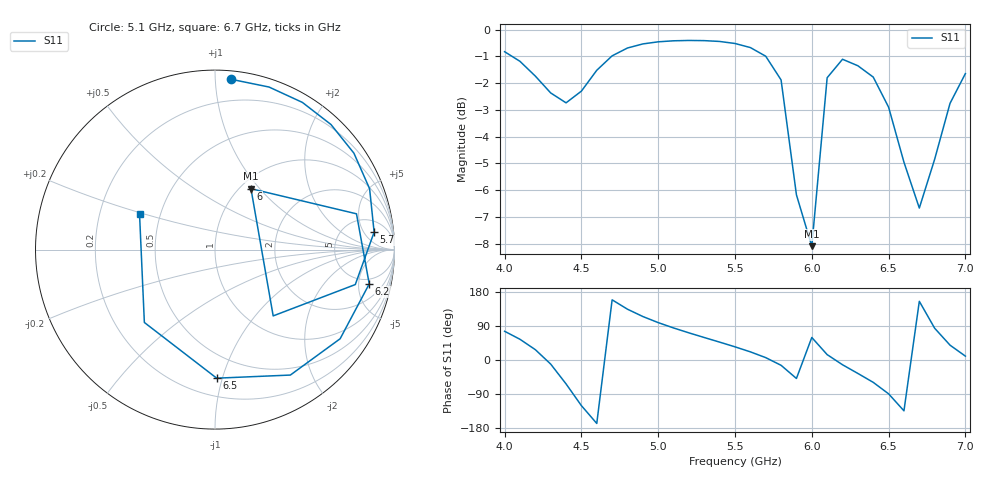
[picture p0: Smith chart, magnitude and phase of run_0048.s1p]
! Touchstone file exported from HFSS 2024.2.0
!  File:  C:/Users/wsak9/Desktop/Sim Fast/Widenad Patch/WP_AI_V1_sweep.aedt
!  Generated:  04:52:41 PM Oct 13, 2026
!  Design:  A1_model
!  Project:  WP_AI_V1_sweep
!  Setup:  Setup1
!  Solution:  Sweep
! Variables:
!  Air_gap = 4.3mm
!  Curve_Amp1 = 3
!  Curve_len1 = 1
!  Curve_pos = 10.23mm
!  Extra = 5.09mm
!  H_sub = 0.79mm
!  L_Patch = 16.46mm
!  L_Patch1 = 17.08mm
!  Sx = 1.29mm
!  Sy = 0.29mm
!  WS = 0.25mm
!  W_Patch = 17.78mm
!  W_Patch1 = 11.99mm
!Data is not renormalized
# GHz S MA
! Terminal data exported
! Port[1] = 1
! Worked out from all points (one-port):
!   31 points, 4 GHz to 7 GHz, reference per port
!   lowest |S11| = -8.1 dB at 6 GHz (marker M1), VSWR 2.30
!   |S11| at or under -10 dB: nowhere
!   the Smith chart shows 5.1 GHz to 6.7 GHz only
!   S11 on the Smith chart (normalised r, x): 5.1 GHz: 0.05, +1.10; 5.7 GHz: 9, +9; 6 GHz: 1.12, +0.90; 6.2 GHz: 3.99, -6.78; 6.5 GHz: 0.33, -0.96; 6.7 GHz: 0.38, +0.19
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4  0.9093 75.8
4.1  0.8725 54.7
4.2  0.8188 27.3
4.3  0.7616 -10.8
4.4  0.7299 -63.0
4.5  0.7676 -120.5
4.6  0.8396 -167.4
4.7  0.8934 158.8
4.8  0.924 134.0
4.9  0.9403 114.7
5.1  0.953 84.6
5.2  0.9544 71.6
5.3  0.9537 59.3
5.5  0.9421 34.8
5.7  0.8919 6.2
5.8  0.8055 -14.0
5.9  0.4914 -48.7
6  0.3941 59.5
6.1  0.8131 14.2
6.2  0.8803 -12.6
6.3  0.856 -35.5
6.4  0.8154 -59.0
6.5  0.7164 -89.2
6.6  0.5654 -134.1
6.7  0.4643 154.9
6.8  0.5728 83.8
6.9  0.7283 39.1
7  0.8277 10.2
